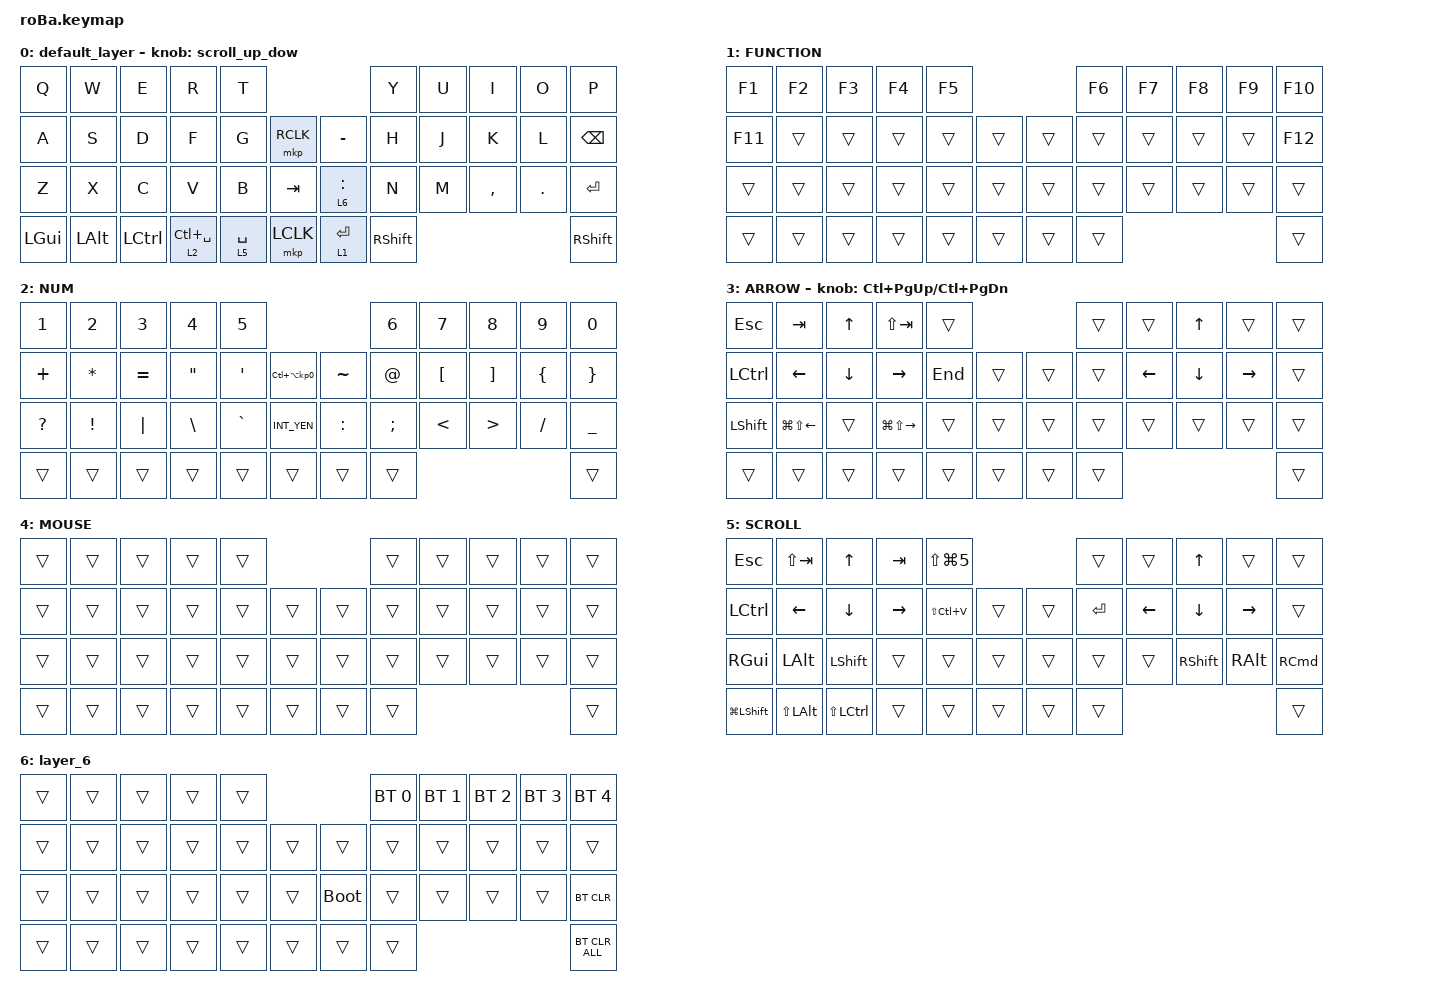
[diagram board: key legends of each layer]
#include <behaviors.dtsi>
#include <dt-bindings/zmk/bt.h>
#include <dt-bindings/zmk/keys.h>
#include <dt-bindings/zmk/pointing.h>

#define MOUSE 4
#define SCROLL 5
#define ZMK_POINTING_DEFAULT_SCRL_VAL 100
#define NUM 6

&mt {
    flavor = "balanced";
    quick-tap-ms = <0>;
};

/ {
    combos {
        compatible = "zmk,combos";

        tab {
            bindings = <&kp TAB>;
            key-positions = <11 12>;
        };

        shift_tab {
            bindings = <&kp LS(TAB)>;
            key-positions = <12 13>;
        };

        muhennkann {
            bindings = <&to_layer_0 INT_MUHENKAN>;
            key-positions = <11 10>;
        };

        double_quotation {
            bindings = <&kp DOUBLE_QUOTES>;
            key-positions = <20 21>;
        };

        eq {
            bindings = <&kp EQUAL>;
            key-positions = <24 25>;
        };
    };

    macros {
        to_layer_0: to_layer_0 {
            compatible = "zmk,behavior-macro-one-param";
            #binding-cells = <1>;
            bindings = <&to 0 &macro_param_1to1 &kp MACRO_PLACEHOLDER>;
            label = "TO_LAYER_0";
        };
    };

    behaviors {
        lt_to_layer_0: lt_to_layer_0 {
            compatible = "zmk,behavior-hold-tap";
            label = "LAYER_TAP_TO_0";
            bindings = <&mo>, <&to_layer_0>;

            #binding-cells = <2>;
            tapping-term-ms = <200>;
        };

        scroll_up_dow: scroll_up_dow {
            compatible = "zmk,behavior-sensor-rotate";
            label = "SCROLL_UP_DOW";
            #sensor-binding-cells = <0>;
            bindings = <&msc SCRL_UP>, <&msc SCRL_DOWN>;

            tap-ms = <20>;
        };
    };

    keymap {
        compatible = "zmk,keymap";

        default_layer {
            bindings = <
&kp Q     &kp W     &kp E      &kp R                       &kp T                                    &kp Y       &kp U  &kp I      &kp O    &kp P
&kp A     &kp S     &kp D      &kp F                       &kp G        &mkp RCLK      &kp MINUS    &kp H       &kp J  &kp K      &kp L    &kp BSPC
&kp Z     &kp X     &kp C      &kp V                       &kp B        &kp TAB        &lt 6 COLON  &kp N       &kp M  &kp COMMA  &kp DOT  &kp RET
&kp LGUI  &kp LALT  &kp LCTRL  &lt_to_layer_0 2 LC(SPACE)  &lt 5 SPACE  &mkp LCLK      &lt 1 ENTER  &kp RSHIFT                             &kp RSHFT
            >;

            sensor-bindings = <&scroll_up_dow>;
        };

        FUNCTION {
            bindings = <
&kp F1   &kp F2  &kp F3  &kp F4  &kp F5                      &kp F6  &kp F7  &kp F8  &kp F9  &kp F10
&kp F11  &trans  &trans  &trans  &trans  &trans      &trans  &trans  &trans  &trans  &trans  &kp F12
&trans   &trans  &trans  &trans  &trans  &trans      &trans  &trans  &trans  &trans  &trans  &trans
&trans   &trans  &trans  &trans  &trans  &trans      &trans  &trans                          &trans
            >;
        };

        NUM {
            bindings = <
&kp N1        &kp N2           &kp N3     &kp N4             &kp N5                                                    &kp N6         &kp N7         &kp N8    &kp N9          &kp N0
&kp PLUS      &kp STAR         &kp EQUAL  &kp DOUBLE_QUOTES  &kp SINGLE_QUOTE  &kp LC(LA(KP_NUMBER_0))      &kp TILDE  &kp AT_SIGN    &kp LBKT       &kp RBKT  &kp LEFT_BRACE  &kp RIGHT_BRACE
&kp QUESTION  &kp EXCLAMATION  &kp PIPE   &kp BACKSLASH      &kp GRAVE         &kp INT_YEN                  &kp COLON  &kp SEMICOLON  &kp LESS_THAN  &kp GT    &kp FSLH        &kp UNDER
&trans        &trans           &trans     &trans             &trans            &trans                       &trans     &trans                                                  &trans
            >;
        };

        ARROW {
            bindings = <
&kp ESCAPE        &kp TAB                 &kp UP_ARROW    &kp LS(TAB)              &trans                       &trans  &trans          &kp UP_ARROW    &trans           &trans
&kp LEFT_CONTROL  &kp LEFT_ARROW          &kp DOWN_ARROW  &kp RIGHT_ARROW          &kp END  &trans      &trans  &trans  &kp LEFT_ARROW  &kp DOWN_ARROW  &kp RIGHT_ARROW  &trans
&kp LEFT_SHIFT    &kp LG(LS(LEFT_ARROW))  &trans          &kp LG(LS(RIGHT_ARROW))  &trans   &trans      &trans  &trans  &trans          &trans          &trans           &trans
&trans            &trans                  &trans          &trans                   &trans   &trans      &trans  &trans                                                   &trans
            >;

            sensor-bindings = <&inc_dec_kp LC(PAGE_UP) LC(PAGE_DOWN)>;
        };

        MOUSE {
            bindings = <
&trans  &trans  &trans  &trans  &trans                      &trans  &trans  &trans  &trans  &trans
&trans  &trans  &trans  &trans  &trans  &trans      &trans  &trans  &trans  &trans  &trans  &trans
&trans  &trans  &trans  &trans  &trans  &trans      &trans  &trans  &trans  &trans  &trans  &trans
&trans  &trans  &trans  &trans  &trans  &trans      &trans  &trans                          &trans
            >;
        };

        SCROLL {
            bindings = <
&kp ESC             &kp LS(TAB)       &kp UP          &kp TAB    &kp LS(LG(NUMBER_5))                      &trans     &trans    &kp UP           &trans         &trans
&kp LCTRL           &kp LEFT          &kp DOWN        &kp RIGHT  &kp LS(LC(V))         &trans      &trans  &kp ENTER  &kp LEFT  &kp DOWN         &kp RIGHT      &trans
&kp RGUI            &kp LALT          &kp LEFT_SHIFT  &trans     &trans                &trans      &trans  &trans     &trans    &kp RIGHT_SHIFT  &kp RIGHT_ALT  &kp RIGHT_COMMAND
&kp LG(LEFT_SHIFT)  &kp LS(LEFT_ALT)  &kp LS(LCTRL)   &trans     &trans                &trans      &trans  &trans                                               &trans
            >;
        };

        layer_6 {
            bindings = <
&trans  &trans  &trans  &trans  &trans                           &bt BT_SEL 0  &bt BT_SEL 1  &bt BT_SEL 2  &bt BT_SEL 3  &bt BT_SEL 4
&trans  &trans  &trans  &trans  &trans  &trans      &trans       &trans        &trans        &trans        &trans        &trans
&trans  &trans  &trans  &trans  &trans  &trans      &bootloader  &trans        &trans        &trans        &trans        &bt BT_CLR
&trans  &trans  &trans  &trans  &trans  &trans      &trans       &trans                                                  &bt BT_CLR_ALL
            >;
        };
    };
};
